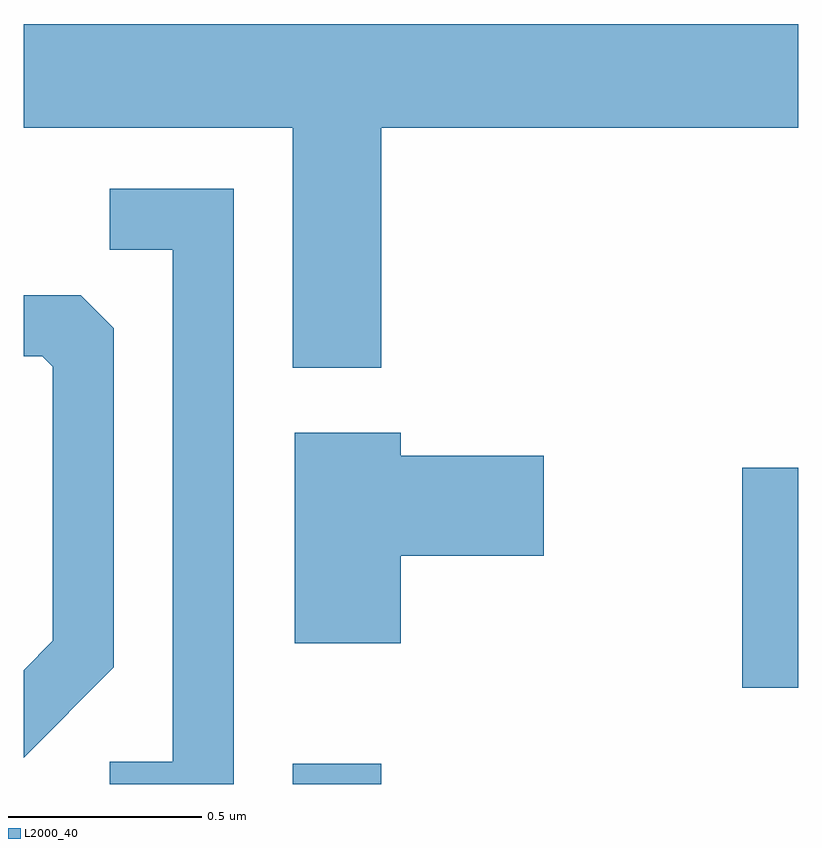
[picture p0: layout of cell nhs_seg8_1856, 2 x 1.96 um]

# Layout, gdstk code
import gdstk
lib = gdstk.Library(unit=1e-6, precision=1e-09)
def R(c, l, rs):  # rectangles x0, y0, x1, y1
    for r in rs: c.add(gdstk.rectangle(r[:2], r[2:], *l))
def P(c, l, *ps):  # polygons
    for p in ps: c.add(gdstk.Polygon(p, *l))
L2000_40 = (2000, 40)

nhs_seg8_1856 = lib.new_cell('nhs_seg8_1856')
R(nhs_seg8_1856, L2000_40, [(199.306,1881.342,199.534,1881.394), (200.466,1881.591,200.611,1882.159)])
P(nhs_seg8_1856, L2000_40, [(199.534,1883.036),(200.611,1883.036),(200.611,1883.304),(198.611,1883.304),(198.611,1883.036),(199.306,1883.036),(199.306,1882.416),(199.534,1882.416)],
  [(199.154,1882.879),(198.833,1882.879),(198.833,1882.721),(198.996,1882.721),(198.996,1881.399),(198.833,1881.399),(198.833,1881.342),(199.154,1881.342)],
  [(198.844,1881.644),(198.844,1882.519),(198.759,1882.604),(198.611,1882.604),(198.611,1882.446),(198.659,1882.446),(198.686,1882.419),(198.686,1881.712),(198.611,1881.636),(198.611,1881.41)],
  [(199.584,1881.931),(199.954,1881.931),(199.954,1882.189),(199.584,1882.189),(199.584,1882.249),(199.311,1882.249),(199.311,1881.706),(199.584,1881.706)])

lib.write_gds('nhs_seg8_1856.gds')
